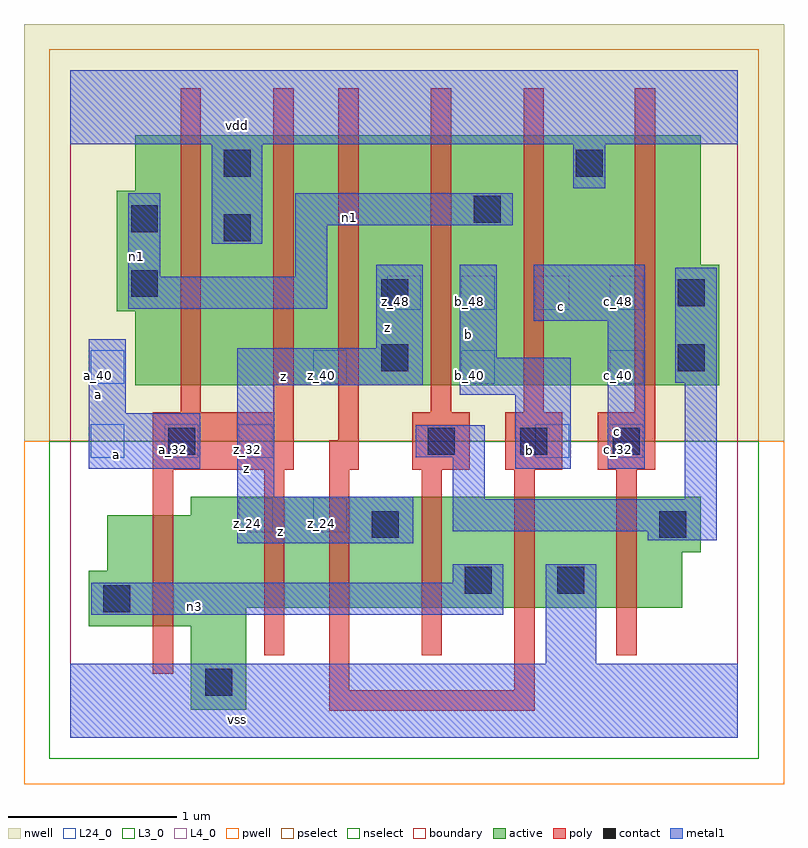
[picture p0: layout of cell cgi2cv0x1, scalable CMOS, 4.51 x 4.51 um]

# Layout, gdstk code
import gdstk
lib = gdstk.Library(unit=1e-6, precision=2.5e-09)
def R(c, l, rs):  # rectangles x0, y0, x1, y1
    for r in rs: c.add(gdstk.rectangle(r[:2], r[2:], *l))
def A(c, l, x, y, w, h, nx, ny, dx, dy):  # array of equal rectangles
    R(c, l, [(x+i*dx, y+j*dy, x+i*dx+w, y+j*dy+h) for i in range(nx) for j in range(ny)])
L3_0 = (3, 0)
L4_0 = (4, 0)
L24_0 = (24, 0)
contact = (25, 0)
pwell = (41, 0)
nwell = (42, 0)
active = (43, 0)
pselect = (44, 0)
nselect = (45, 0)
poly = (46, 0)
metal1 = (49, 0)
boundary = (63, 0)

cgi2cv0x1 = lib.new_cell('cgi2cv0x1')
R(cgi2cv0x1, L3_0, [(0.715,0.165,1.045,0.66), (0.11,0.66,1.045,0.77), (0.11,0.77,3.63,0.99), (0.22,0.99,3.63,1.1), (0.22,1.1,3.74,1.32), (0.715,1.32,3.74,1.43)])
R(cgi2cv0x1, L4_0, [(0.385,2.09,3.85,2.53), (0.275,2.53,3.85,2.805), (0.275,2.805,3.74,3.245), (0.385,3.245,3.74,3.575)])
A(cgi2cv0x1, L24_0, 0.12, 1.66, 0.2, 0.2, 3, 1, 0.44, 0)
A(cgi2cv0x1, L24_0, 1.44, 2.1, 0.2, 0.2, 3, 1, 0.88, 0)
A(cgi2cv0x1, L24_0, 1.88, 2.54, 0.2, 0.2, 4, 1, 0.44, 0)
R(cgi2cv0x1, L24_0, [(1,1.22,1.2,1.42), (1.44,1.22,1.64,1.42), (2.76,1.66,2.96,1.86), (3.2,1.66,3.4,1.86), (0.12,2.1,0.32,2.3)])
A(cgi2cv0x1, contact, 2.12, 1.68, 0.16, 0.16, 3, 1, 0.55, 0)
R(cgi2cv0x1, contact, [(0.8,0.25,0.96,0.41), (0.195,0.745,0.355,0.905), (2.34,0.855,2.5,1.015), (2.89,0.855,3.05,1.015), (1.79,1.185,1.95,1.345), (3.495,1.185,3.655,1.345), (0.58,1.68,0.74,1.84), (1.845,2.175,2.005,2.335), (3.605,2.175,3.765,2.335), (1.845,2.56,2.005,2.72), (3.605,2.56,3.765,2.72), (0.36,2.615,0.52,2.775), (0.91,2.945,1.07,3.105), (0.36,3,0.52,3.16), (2.395,3.055,2.555,3.215), (0.91,3.33,1.07,3.49), (3,3.33,3.16,3.49)])
R(cgi2cv0x1, pwell, [(-0.275,-0.275,4.235,1.76)])
R(cgi2cv0x1, nwell, [(-0.275,1.76,4.235,4.235)])
R(cgi2cv0x1, active, [(0.715,0.165,1.045,0.66), (0.11,0.66,1.045,0.77), (0.11,0.77,3.63,0.99), (0.22,0.99,3.63,1.1), (0.22,1.1,3.74,1.32), (0.715,1.32,3.74,1.43), (0.385,2.09,3.85,2.53), (0.275,2.53,3.85,2.805), (0.275,2.805,3.74,3.245), (0.385,3.245,3.74,3.575)])
R(cgi2cv0x1, pselect, [(-0.125,1.76,4.085,4.085)])
R(cgi2cv0x1, nselect, [(-0.125,-0.125,4.085,1.76)])
A(cgi2cv0x1, poly, 2.03, 1.59, 0.34, 0.34, 3, 1, 0.55, 0)
R(cgi2cv0x1, poly, [(1.535,0.16,2.755,0.28), (1.535,0.28,1.655,1.59), (2.635,0.28,2.755,1.59), (0.49,0.38,0.61,1.59), (1.15,0.49,1.27,1.59), (2.085,0.49,2.205,1.59), (3.24,0.49,3.36,1.59), (0.49,1.59,1.325,1.93), (1.535,1.59,1.71,1.765), (1.59,1.765,1.71,3.855), (0.655,1.93,0.775,3.855), (1.205,1.93,1.325,3.855), (2.14,1.93,2.26,3.855), (2.69,1.93,2.81,3.855), (3.35,1.93,3.47,3.855)])
R(cgi2cv0x1, metal1, [(0,0,3.96,0.44), (2.82,0.44,3.12,1.03), (0.125,0.73,2.57,0.92), (2.27,0.92,2.57,1.03), (0.99,1.155,2.035,1.43), (3.425,1.17,3.835,1.225), (2.27,1.225,3.835,1.415), (2.27,1.415,2.46,1.665), (3.645,1.415,3.835,2.105), (0.99,1.43,1.21,2.09), (0.11,1.595,0.77,1.925), (2.64,1.595,2.97,2.035), (3.19,1.595,3.41,2.475), (2.05,1.665,2.46,1.855), (0.11,1.925,0.33,2.365), (2.31,2.035,2.97,2.255), (0.99,2.09,2.09,2.31), (3.59,2.105,3.835,2.79), (2.31,2.255,2.53,2.805), (1.815,2.31,2.09,2.805), (2.75,2.475,3.41,2.805), (0.345,2.545,1.525,2.735), (0.345,2.735,0.535,3.23), (1.335,2.735,1.525,3.04), (0.84,2.93,1.14,3.52), (1.335,3.04,2.625,3.23), (2.985,3.26,3.175,3.52), (0,3.52,3.96,3.96)])
R(cgi2cv0x1, boundary, [(0,0,3.96,3.96)])
cgi2cv0x1.add(gdstk.Label('vss', (0.99,0.11), layer=49, texttype=0))
cgi2cv0x1.add(gdstk.Label('n3', (0.735,0.7775), layer=49, texttype=0))
cgi2cv0x1.add(gdstk.Label('c', (3.245,1.815), layer=49, texttype=0))
cgi2cv0x1.add(gdstk.Label('b', (2.7225,1.705), layer=49, texttype=0))
cgi2cv0x1.add(gdstk.Label('z', (1.25,1.2225), layer=49, texttype=0))
cgi2cv0x1.add(gdstk.Label('z', (1.045,1.595), layer=49, texttype=0))
cgi2cv0x1.add(gdstk.Label('a', (0.275,1.6775), layer=49, texttype=0))
cgi2cv0x1.add(gdstk.Label('c', (2.915,2.5575), layer=49, texttype=0))
cgi2cv0x1.add(gdstk.Label('b', (2.365,2.3925), layer=49, texttype=0))
cgi2cv0x1.add(gdstk.Label('z', (1.265,2.145), layer=49, texttype=0))
cgi2cv0x1.add(gdstk.Label('z', (1.8825,2.4325), layer=49, texttype=0))
cgi2cv0x1.add(gdstk.Label('a', (0.165,2.035), layer=49, texttype=0))
cgi2cv0x1.add(gdstk.Label('n1', (1.6575,3.0875), layer=49, texttype=0))
cgi2cv0x1.add(gdstk.Label('n1', (0.3925,2.8575), layer=49, texttype=0))
cgi2cv0x1.add(gdstk.Label('vdd', (0.99,3.63), layer=49, texttype=0))
cgi2cv0x1.add(gdstk.Label('c_48', (2.81,2.59), layer=24, texttype=0))
cgi2cv0x1.add(gdstk.Label('c_48', (3.25,2.59), layer=24, texttype=0))
cgi2cv0x1.add(gdstk.Label('c_40', (3.25,2.15), layer=24, texttype=0))
cgi2cv0x1.add(gdstk.Label('b_40', (2.37,2.15), layer=24, texttype=0))
cgi2cv0x1.add(gdstk.Label('c_32', (3.25,1.71), layer=24, texttype=0))
cgi2cv0x1.add(gdstk.Label('a_32', (0.61,1.71), layer=24, texttype=0))
cgi2cv0x1.add(gdstk.Label('z_24', (1.05,1.27), layer=24, texttype=0))
cgi2cv0x1.add(gdstk.Label('z_32', (1.05,1.71), layer=24, texttype=0))
cgi2cv0x1.add(gdstk.Label('z_24', (1.49,1.27), layer=24, texttype=0))
cgi2cv0x1.add(gdstk.Label('z_40', (1.49,2.15), layer=24, texttype=0))
cgi2cv0x1.add(gdstk.Label('z_48', (1.93,2.59), layer=24, texttype=0))
cgi2cv0x1.add(gdstk.Label('a_32', (0.17,1.71), layer=24, texttype=0))
cgi2cv0x1.add(gdstk.Label('a_40', (0.17,2.15), layer=24, texttype=0))
cgi2cv0x1.add(gdstk.Label('b_48', (2.37,2.59), layer=24, texttype=0))
cgi2cv0x1.add(gdstk.Label('b_32', (2.81,1.71), layer=24, texttype=0))

lib.write_gds('cgi2cv0x1.gds')
